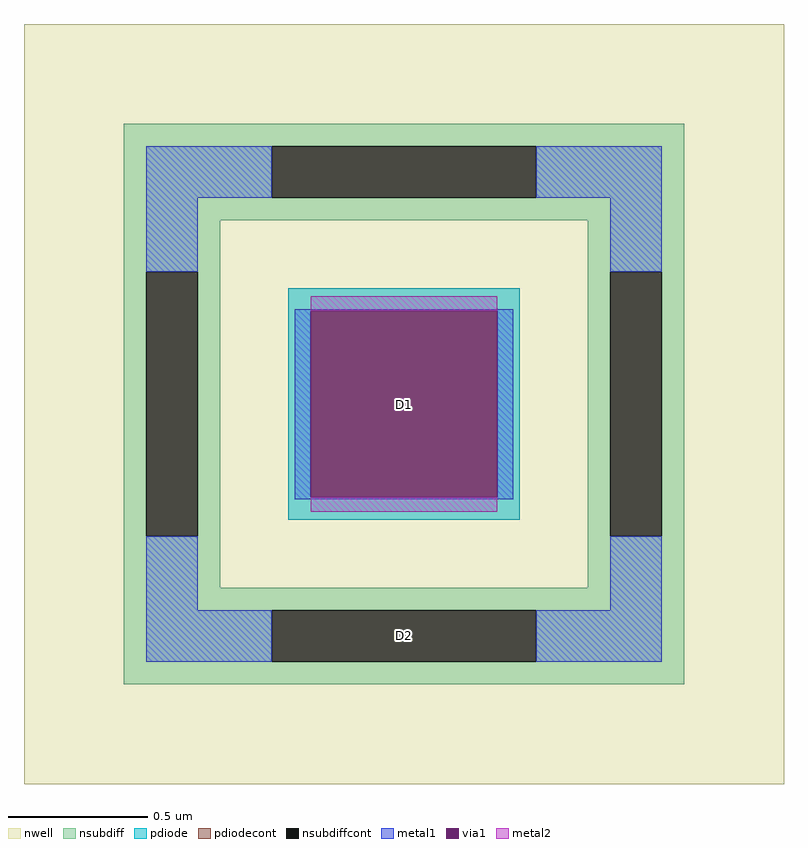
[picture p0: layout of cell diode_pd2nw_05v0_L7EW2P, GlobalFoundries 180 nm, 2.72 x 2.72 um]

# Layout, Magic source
magic
tech gf180mcuD
magscale 3 26
<< nwell >>
rect -236 -236 236 236
<< nsubdiff >>
rect -174 160 174 174
rect -174 128 -82 160
rect 82 128 174 160
rect -174 114 174 128
rect -174 82 -114 114
rect -174 -82 -160 82
rect -128 -82 -114 82
rect 114 82 174 114
rect -174 -114 -114 -82
rect 114 -82 128 82
rect 160 -82 174 82
rect 114 -114 174 -82
rect -174 -128 174 -114
rect -174 -160 -82 -128
rect 82 -160 174 -128
rect -174 -174 174 -160
<< nsubdiffcont >>
rect -82 128 82 160
rect -160 -82 -128 82
rect 128 -82 160 82
rect -82 -160 82 -128
<< pdiode >>
rect -72 58 72 72
rect -72 -58 -58 58
rect 58 -58 72 58
rect -72 -72 72 -58
<< pdiodecont >>
rect -58 -58 58 58
<< metal1 >>
rect -160 128 -82 160
rect 82 128 160 160
rect -160 82 -128 128
rect 128 82 160 128
rect -68 58 68 59
rect -68 -58 -58 58
rect 58 -58 68 58
rect -68 -59 68 -58
rect -160 -128 -128 -82
rect 128 -128 160 -82
rect -160 -160 -82 -128
rect 82 -160 160 -128
<< via1 >>
rect -58 -58 58 58
<< metal2 >>
rect -58 58 58 67
rect -58 -67 58 -58
<< labels >>
rlabel nsubdiffcont 0 -144 0 -144 0 D2
port 1 nsew
rlabel pdiodecont 0 0 0 0 0 D1
port 2 nsew
<< properties >>
string FIXED_BBOX -144 -144 144 144
string gencell diode_pd2nw_05v0
string library gf180mcu
string parameters w 0.72 l 0.72 area 518.4m peri 2.88 nx 1 ny 1 dummy 0 lmin 0.45 wmin 0.45 class diode elc 1 erc 1 etc 1 ebc 1 doverlap 0 doports 1 full_metal 1 vias 1 viagb 0 viagt 0 viagl 0 viagr 0
<< end >>
